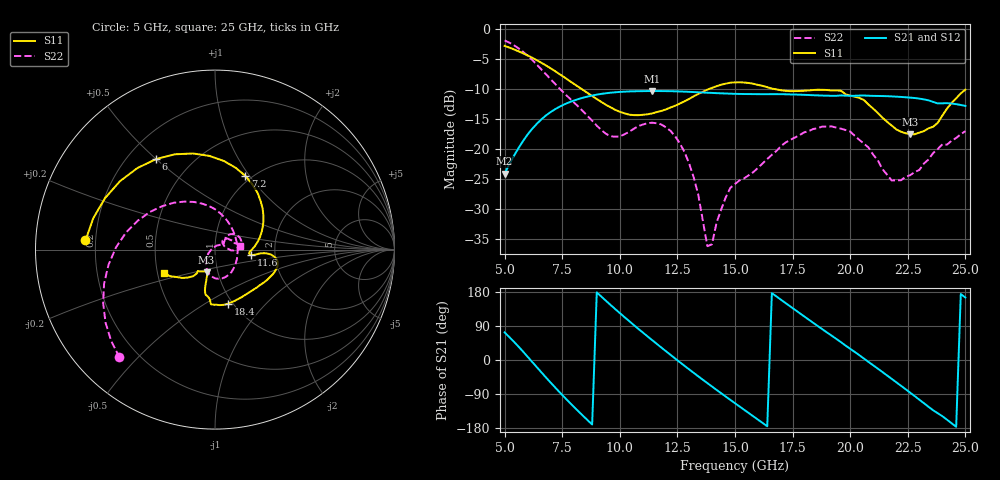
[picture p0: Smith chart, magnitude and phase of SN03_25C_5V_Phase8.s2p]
!File name = SN03_25C_5V_Phase8.s2p
!Date = 2/3/2014
!Time = 2:34 PM
!Test duration(min) = 0.07
!Test = SPars
!MPTS version = 7.120.8
!Comments =
!set_LD1(binary) = 8
!set_LD2(binary) = 524279
!test = SPars
!date_code = 20140203
!file_name = SN03_25C_5V_Phase8.s2p
!VREF(V) = 5.000
!VREF(mA) = 0.001
# GHz  S  DB  R  50
!%	Freq(GHz)  S11(dB)  S11(deg)  S21(dB)  S21(deg)  S12(dB)  S12(deg)  S22(dB)  S22(deg)
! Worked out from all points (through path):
!   101 points, 5 GHz to 25 GHz, reference 50 ohm
!   highest |S21| = -10.34 dB at 11.4 GHz (marker M1); lowest = -24.1 dB at 5 GHz (marker M2)
!   lowest |S11| = -17.5 dB at 22.6 GHz (marker M3), VSWR 1.31, Z = 44.2 - j11.1 ohm
!   |S11| at or under -10 dB: 8.34 GHz to 13.88 GHz (5.536 GHz wide, 49.8 % of centre); 16.7 GHz to end of sweep
!   |S22| runs from -36.2 to -1.9 dB; largest |S21 - S12| = 0.00059
!   S11 on the Smith chart (normalised r, x): 5 GHz: 0.16, +0.03; 6 GHz: 0.32, +0.50; 7.2 GHz: 0.93, +0.96; 11.6 GHz: 1.50, -0.09; 18.4 GHz: 0.95, -0.63; 25 GHz: 0.54, -0.16
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5  -2.81 176.0  -24.09 73.0  -24.10 72.9  -1.91 -131.6
6  -4.41 123.0  -17.59 8.5  -17.60 8.5  -4.45 -172.0
6.6  -5.63 93.4  -15.05 -32.7  -15.07 -32.7  -6.76 159.5
7.2  -7.05 67.7  -13.35 -72.9  -13.37 -72.9  -9.19 131.2
8.4  -10.15 29.8  -11.46 -147.1  -11.47 -147.1  -13.71 82.5
9.2  -12.16 11.7  -10.82 167.2  -10.82 167.2  -16.86 44.1
10.2  -14.05 -2.2  -10.45 113.3  -10.45 113.3  -17.55 -22.9
11.4  -14.07 -8.2  -10.35 52.6  -10.36 52.6  -15.63 -76.5
11.6  -13.86 -8.3  -10.35 42.8  -10.36 42.8  -15.71 -83.3
11.8  -13.67 -8.2  -10.35 33.0  -10.37 33.0  -15.92 -89.7
13  -11.68 -4.6  -10.47 -24.4  -10.48 -24.3  -22.32 -130.6
13.4  -10.84 -4.1  -10.55 -42.8  -10.56 -42.8  -27.55 -150.5
13.8  -10.11 -5.0  -10.62 -61.0  -10.63 -61.0  -36.21 152.3
14  -9.82 -5.9  -10.66 -70.0  -10.67 -70.0  -35.90 94.8
15  -8.90 -13.1  -10.81 -114.1  -10.82 -114.1  -25.83 34.9
16.6  -9.93 -38.5  -10.86 176.4  -10.87 176.4  -20.98 48.7
18.4  -10.17 -76.6  -11.04 97.9  -11.05 97.9  -16.67 33.0
20.4  -11.49 -98.3  -11.10 12.5  -11.11 12.5  -18.50 -1.1
21.8  -16.09 -106.7  -11.23 -49.7  -11.24 -49.8  -25.26 21.7
22.6  -17.55 -110.8  -11.44 -86.0  -11.44 -86.1  -24.38 48.2
23.6  -16.29 -128.6  -12.15 -132.6  -12.16 -132.7  -20.68 42.4
25  -10.10 -155.1  -12.83 164.7  -12.84 164.7  -17.03 9.3
